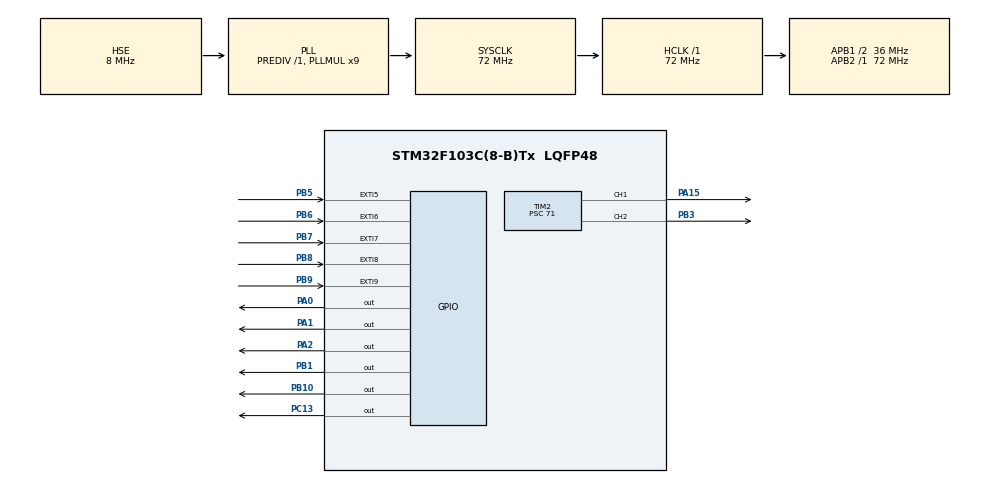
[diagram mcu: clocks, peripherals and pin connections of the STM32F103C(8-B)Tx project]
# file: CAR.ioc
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Mcu.Family=STM32F1
Mcu.Name=STM32F103C(8-B)Tx
Mcu.Package=LQFP48
NVIC.PriorityGroup=NVIC_PRIORITYGROUP_4
NVIC.TIM1_UP_IRQn=true\:0\:0\:false\:false\:true\:true\:true\:true
PA0-WKUP.Signal=GPIO_Output
PA1.Signal=GPIO_Output
PA13.Mode=Serial_Wire
PA13.Signal=SYS_JTMS-SWDIO
PA14.Mode=Serial_Wire
PA14.Signal=SYS_JTCK-SWCLK
PA15.Signal=S_TIM2_CH1_ETR
PA2.Signal=GPIO_Output
PB1.Signal=GPIO_Output
PB10.Signal=GPIO_Output
PB3.Signal=S_TIM2_CH2
PB5.GPIO_ModeDefaultEXTI=GPIO_MODE_IT_FALLING
PB5.GPIO_PuPd=GPIO_NOPULL
PB5.Signal=GPXTI5
PB6.GPIO_ModeDefaultEXTI=GPIO_MODE_IT_FALLING
PB6.Signal=GPXTI6
PB7.GPIO_ModeDefaultEXTI=GPIO_MODE_IT_FALLING
PB7.Signal=GPXTI7
PB8.GPIO_ModeDefaultEXTI=GPIO_MODE_IT_FALLING
PB8.Signal=GPXTI8
PB9.GPIO_ModeDefaultEXTI=GPIO_MODE_IT_FALLING
PB9.Signal=GPXTI9
PC13-TAMPER-RTC.PinState=GPIO_PIN_SET
PC13-TAMPER-RTC.Signal=GPIO_Output
PD0-OSC_IN.Mode=HSE-External-Oscillator
PD0-OSC_IN.Signal=RCC_OSC_IN
PD1-OSC_OUT.Mode=HSE-External-Oscillator
PD1-OSC_OUT.Signal=RCC_OSC_OUT
ProjectManager.HeapSize=0x200
ProjectManager.StackSize=0x400
ProjectManager.TargetToolchain=MDK-ARM V5.32
RCC.AHBFreq_Value=72000000
RCC.APB1CLKDivider=RCC_HCLK_DIV2
RCC.APB1Freq_Value=36000000
RCC.APB1TimFreq_Value=72000000
RCC.APB2Freq_Value=72000000
RCC.APB2TimFreq_Value=72000000
RCC.HCLKFreq_Value=72000000
RCC.PLLMUL=RCC_PLL_MUL9
RCC.PLLSourceVirtual=RCC_PLLSOURCE_HSE
RCC.SYSCLKFreq_VALUE=72000000
RCC.SYSCLKSource=RCC_SYSCLKSOURCE_PLLCLK
RCC.USBFreq_Value=72000000
SH.S_TIM2_CH1_ETR.0=TIM2_CH1,PWM Generation1 CH1
SH.S_TIM2_CH2.0=TIM2_CH2,PWM Generation2 CH2
TIM1.AutoReloadPreload=TIM_AUTORELOAD_PRELOAD_ENABLE
TIM1.Period=1000-1
TIM1.Prescaler=71
TIM2.AutoReloadPreload=TIM_AUTORELOAD_PRELOAD_ENABLE
TIM2.Channel-PWM\ Generation1\ CH1=TIM_CHANNEL_1
TIM2.Channel-PWM\ Generation2\ CH2=TIM_CHANNEL_2
TIM2.Period=999
TIM2.Prescaler=71
VP_TIM1_VS_ClockSourceINT.Mode=Internal
VP_TIM2_VS_ClockSourceINT.Mode=Internal
board=custom

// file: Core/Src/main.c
/* USER CODE BEGIN Header */
/**
  ******************************************************************************
  * @file           : main.c
  * @brief          : Main program body
  ******************************************************************************
  * @attention
  *
  * Copyright (c) 2025 STMicroelectronics.
  * All rights reserved.
  *
  * This software is licensed under terms that can be found in the LICENSE file
  * in the root directory of this software component.
  * If no LICENSE file comes with this software, it is provided AS-IS.
  *
  ******************************************************************************
  */
/* USER CODE END Header */
#include "main.h"
#include "tim.h"
#include "gpio.h"

/* USER CODE BEGIN Includes */
#include "tim.h"
/* USER CODE END Includes */

/* USER CODE BEGIN PD */
uint8_t flag,mun1,mun2;
uint8_t last_flag = 0;
/* USER CODE END PD */

void SystemClock_Config(void);
/* USER CODE BEGIN PFP */
void left_f_r(uint8_t mun);
void right_f_r(uint8_t mun);
void speed_l_r(int speed,int speed1);
/* USER CODE END PFP */

/* USER CODE BEGIN 0 */
void left_f_r(uint8_t mun)
{
	if(mun == 1)
	{
	HAL_GPIO_WritePin(GPIOA,GPIO_PIN_2,GPIO_PIN_SET);//左轮正转
	HAL_GPIO_WritePin(GPIOA,GPIO_PIN_1,GPIO_PIN_RESET);
	}
	else
	{
	HAL_GPIO_WritePin(GPIOA,GPIO_PIN_1,GPIO_PIN_SET);//左轮反转
	HAL_GPIO_WritePin(GPIOA,GPIO_PIN_2,GPIO_PIN_RESET);
	}
}

void right_f_r(uint8_t mun)
{
	if(mun == 1)
	{
	HAL_GPIO_WritePin(GPIOB,GPIO_PIN_1,GPIO_PIN_SET);//右轮正转
	HAL_GPIO_WritePin(GPIOB,GPIO_PIN_10,GPIO_PIN_RESET);
	}
	else
	{
	HAL_GPIO_WritePin(GPIOB,GPIO_PIN_10,GPIO_PIN_SET);//右轮反转
	HAL_GPIO_WritePin(GPIOB,GPIO_PIN_1,GPIO_PIN_RESET);
	}
}

void speed_l_r(int speed,int speed1)
{
	__HAL_TIM_SET_COMPARE(&htim2,TIM_CHANNEL_1,speed);//左轮速度
	__HAL_TIM_SET_COMPARE(&htim2,TIM_CHANNEL_2,speed1);//右轮速度
}
/* USER CODE END 0 */

int main(void)
{

  /* MCU Configuration--------------------------------------------------------*/

  /* Reset of all peripherals, Initializes the Flash interface and the Systick. */
  HAL_Init();

  /* Configure the system clock */
  SystemClock_Config();

  /* Initialize all configured peripherals */
  MX_GPIO_Init();
  MX_TIM2_Init();
  MX_TIM1_Init();

  /* Infinite loop */
  /* USER CODE BEGIN WHILE */
		HAL_GPIO_WritePin(GPIOA,GPIO_PIN_0,GPIO_PIN_SET);//ENABLE

	HAL_TIM_PWM_Start(&htim2,TIM_CHANNEL_1);
	HAL_TIM_PWM_Start(&htim2,TIM_CHANNEL_2);

	HAL_TIM_Base_Start(&htim1);
	//HAL_TIM_Base_Start(&htim2);

	//启动定时器中断

	HAL_TIM_Base_Start_IT(&htim1);

	left_f_r(1);
	right_f_r(1);
  while (1)
  {
			if(HAL_GPIO_ReadPin(GPIOB,GPIO_PIN_5) == GPIO_PIN_RESET)//left max
			flag = 1;
		else if(HAL_GPIO_ReadPin(GPIOB,GPIO_PIN_6) == GPIO_PIN_RESET)//left low
			flag = 2;
		else if(HAL_GPIO_ReadPin(GPIOB,GPIO_PIN_7) == GPIO_PIN_RESET)//middle
			flag = 3;
		else if(HAL_GPIO_ReadPin(GPIOB,GPIO_PIN_8) == GPIO_PIN_RESET)//right low
			flag = 4;
		else if(HAL_GPIO_ReadPin(GPIOB,GPIO_PIN_9) == GPIO_PIN_RESET)//right max
			flag = 5;
		else
			flag = 0;
   if(flag == 1)
    {
			right_f_r(1);
        speed_l_r(0,1000); // 左转
    }
    else if(flag == 2)
    {
			right_f_r(1);
        speed_l_r(0,500); // 轻微左转
    }
    else if(flag == 3)
    {
			right_f_r(1);
        speed_l_r(500,500); // 直行
    }
    else if(flag == 4)
    {
			right_f_r(0);
      speed_l_r(1000,250); // 轻微右转
    }
    else if(flag == 5)
    {
			right_f_r(0);
      speed_l_r(1000,250); // 右转
    }
    else
    {
			right_f_r(1);
        speed_l_r(500,500); // 停止
		}
//		else
//		{
//			speed_l_r(500,500);
//		}
//
    /* USER CODE END WHILE */

  }
}

void SystemClock_Config(void)
{
  RCC_OscInitTypeDef RCC_OscInitStruct = {0};
  RCC_ClkInitTypeDef RCC_ClkInitStruct = {0};

  /** Initializes the RCC Oscillators according to the specified parameters
  * in the RCC_OscInitTypeDef structure.
  */
  RCC_OscInitStruct.OscillatorType = RCC_OSCILLATORTYPE_HSE;
  RCC_OscInitStruct.HSEState = RCC_HSE_ON;
  RCC_OscInitStruct.HSEPredivValue = RCC_HSE_PREDIV_DIV1;
  RCC_OscInitStruct.HSIState = RCC_HSI_ON;
  RCC_OscInitStruct.PLL.PLLState = RCC_PLL_ON;
  RCC_OscInitStruct.PLL.PLLSource = RCC_PLLSOURCE_HSE;
  RCC_OscInitStruct.PLL.PLLMUL = RCC_PLL_MUL9;
  if (HAL_RCC_OscConfig(&RCC_OscInitStruct) != HAL_OK)
  {
    Error_Handler();
  }

  /** Initializes the CPU, AHB and APB buses clocks
  */
  RCC_ClkInitStruct.ClockType = RCC_CLOCKTYPE_HCLK|RCC_CLOCKTYPE_SYSCLK
                              |RCC_CLOCKTYPE_PCLK1|RCC_CLOCKTYPE_PCLK2;
  RCC_ClkInitStruct.SYSCLKSource = RCC_SYSCLKSOURCE_PLLCLK;
  RCC_ClkInitStruct.AHBCLKDivider = RCC_SYSCLK_DIV1;
  RCC_ClkInitStruct.APB1CLKDivider = RCC_HCLK_DIV2;
  RCC_ClkInitStruct.APB2CLKDivider = RCC_HCLK_DIV1;

  if (HAL_RCC_ClockConfig(&RCC_ClkInitStruct, FLASH_LATENCY_2) != HAL_OK)
  {
    Error_Handler();
  }
}

/* USER CODE BEGIN 4 */
void HAL_TIM_PeriodElapsedCallback(TIM_HandleTypeDef *htim)
{
//	if (htim == &htim1)//这么写，应该可以进入中断吧
//	{
//			HAL_GPIO_TogglePin(GPIOC, GPIO_PIN_13); // 用于观察中断频率
//		if(HAL_GPIO_ReadPin(GPIOB,GPIO_PIN_5) == GPIO_PIN_RESET)//left max
//			flag = 1;
//		else if(HAL_GPIO_ReadPin(GPIOB,GPIO_PIN_6) == GPIO_PIN_RESET)//left low
//			flag = 2;
//		else if(HAL_GPIO_ReadPin(GPIOB,GPIO_PIN_7) == GPIO_PIN_RESET)//middle
//			flag = 3;
//		else if(HAL_GPIO_ReadPin(GPIOB,GPIO_PIN_8) == GPIO_PIN_RESET)//right low
//			flag = 4;
//		else if(HAL_GPIO_ReadPin(GPIOB,GPIO_PIN_9) == GPIO_PIN_RESET)//right max
//			flag = 5;
//		else
//			flag = 0;

}
/* USER CODE END 4 */

void Error_Handler(void)
{
  __disable_irq();
  while (1)
  {
  }
}
